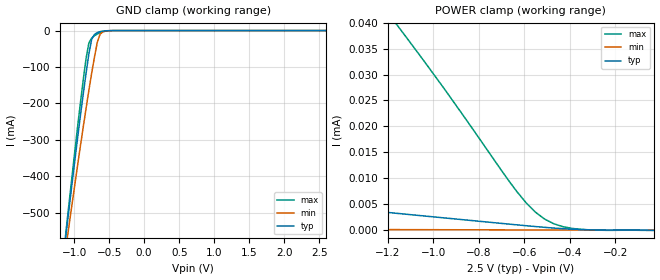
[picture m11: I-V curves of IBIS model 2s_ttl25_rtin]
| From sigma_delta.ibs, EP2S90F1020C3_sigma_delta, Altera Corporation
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[Model] 2s_ttl25_rtin
Model_type Input
Vinl  = 0.7
Vinh  = 1.7
C_comp  3.80pF  NA  NA
[Temperature Range]  25.000   85.000   0.000
[Voltage Range]   2.5   2.375   2.625
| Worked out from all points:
|   GND clamp passes 1 mA (typ) near -0.57 V on its own axis
[GND_Clamp]
| voltage   I(typ)   I(min)   I(max)
-2.5V     -2.907A    -2.573A    -3.106A
-1.15V    -615.3mA   -641.4mA   -611.7mA
-1.11V    -549.8mA   -586.2mA   -540.3mA
-1.07V    -484.7mA   -531.3mA   -469.6mA
-910mV    -232.9mA   -316.2mA   -197.4mA
-830mV    -117.3mA   -213.9mA   -76.72mA
-790mV    -64.13mA   -164.4mA   -34.19mA
-750mV    -23.99mA   -117.2mA   -20.4mA
-670mV    -5.598mA   -32.48mA   -9.5mA
-630mV    -2.936mA   -10.08mA   -5.902mA
-510mV    -246uA     -376uA     -617.5uA
2.6V      -6.604nA   202.9nA    -7.874nA
[POWER_Clamp]
|voltage   I(typ)   I(min)   I(max)
-2.5V     10.18uA    836.4nA    144.1uA
-2.2V     7.997uA    308.9nA    103.5uA
-1.15V    3.222uA    124.9nA    39.04uA
-1.11V    3.053uA    120.6nA    36.71uA
-1.03V    2.715uA    112.4nA    32uA
-630mV    1.037uA    69.17nA    7.351uA
-550mV    715.6nA    61.46nA    3.478uA
-510mV    565.3nA    57.75nA    2.16uA
-470mV    427.2nA    54.12nA    1.26uA
-390mV    207.3nA    46.85nA    368.2nA
-270mV    50.81nA    35.9nA     15.71nA
-30mV     9.013nA    18.53nA    -41.21nA
